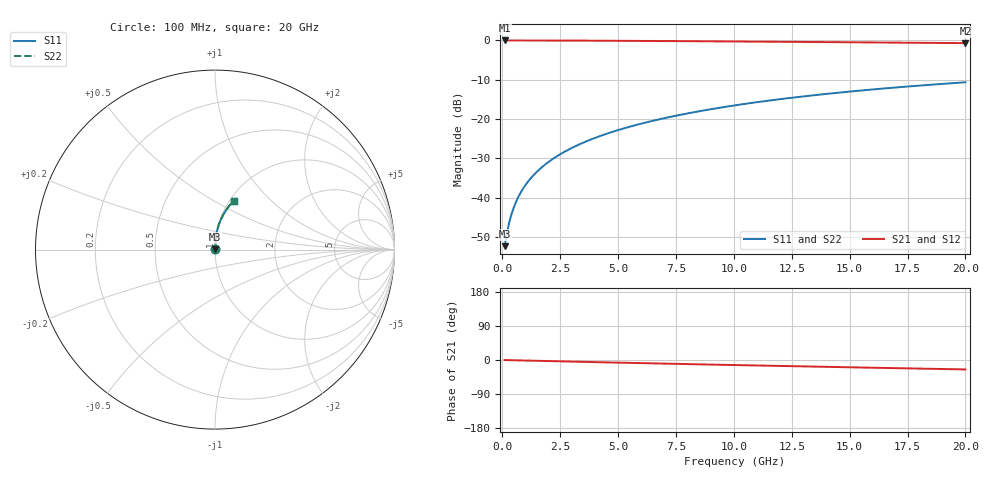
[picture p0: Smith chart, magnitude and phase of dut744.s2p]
! Touchstone file exported from HFSS 2024.1.0
!  File:  C:/UserFiles/LocalFiles/RDL_TSV_Batchsim/temp_RDL_bottom_744_1779859486.aedt
!  Generated:  01:27:13 PM May 27, 2026
!  Design:  RDL_bottom
!  Project:  temp_RDL_bottom_744_1779859486
!  Setup:  Setup1
!  Solution:  Sweep
! Variables:
!  dtsv = 10.80580581um
!  hbump = 3um
!  htsv = 65.81um
!  ldown = 287.8um
!  lrdl = 100um
!  p = 40
!  p1 = 55.92um
!  rhole = 1um
!  t = 450um
!  tdown = 3.28um
!  trdl = 3.915915916um
!  wdown = 18.44um
!  wrdl = 20um
# GHz S MA R 50.000000
! Terminal data exported
! Port[1] = RDL1_T1
! Port[2] = RDL1_T2
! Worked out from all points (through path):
!   200 points, 100 MHz to 20 GHz, reference 50 ohm
!   highest |S21| = -0.02 dB at 100 MHz (marker M1); lowest = -0.7 dB at 20 GHz (marker M2)
!   group delay of S21, straight-line fit = 3.44 ps
!   lowest |S11| = -52.4 dB at 100 MHz (marker M3), VSWR 1.00, Z = 50.2 + j0.15 ohm
!   |S11| at or under -10 dB: start of sweep to end of sweep
!   |S22| runs from -52.4 to -10.7 dB; largest |S21 - S12| = 4.5e-15
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0.1  0.002407 38.4  0.9981 -0.1  0.9981 -0.1  0.002407 38.4
! Gamma 0 0 0 0
! Port Impedance 50 0 50 0
0.2  0.003544 56.8  0.998 -0.3  0.998 -0.3  0.003544 56.8
0.3  0.004844 65.5  0.998 -0.4  0.998 -0.4  0.004844 65.5
0.4  0.006186 70.5  0.9979 -0.6  0.9979 -0.6  0.006186 70.5
0.5  0.007542 73.6  0.9978 -0.7  0.9978 -0.7  0.007542 73.6
0.6  0.008905 75.9  0.9977 -0.9  0.9977 -0.9  0.008905 75.9
0.8  0.01165 78.8  0.9975 -1.1  0.9975 -1.1  0.01165 78.8
1.1  0.0158 81.4  0.9972 -1.6  0.9972 -1.6  0.0158 81.4
1.5  0.02139 83.3  0.9968 -2.1  0.9968 -2.1  0.02139 83.3
1.8  0.02562 84.1  0.9964 -2.6  0.9964 -2.6  0.02562 84.1
2.1  0.02987 84.7  0.9959 -3.0  0.9959 -3.0  0.02987 84.7
2.7  0.03845 85.3  0.9947 -3.8  0.9947 -3.8  0.03845 85.3
3.5  0.05004 85.6  0.9928 -4.9  0.9928 -4.9  0.05004 85.6
4.2  0.06031 85.5  0.9909 -5.9  0.9909 -5.9  0.06031 85.5
5  0.07219 85.2  0.9884 -6.9  0.9884 -6.9  0.07219 85.2
5.9  0.08572 84.6  0.9853 -8.1  0.9853 -8.1  0.08572 84.6
6.8  0.09938 83.9  0.982 -9.3  0.982 -9.3  0.09938 83.9
8.4  0.1238 82.4  0.9757 -11.3  0.9757 -11.3  0.1238 82.4
10.1  0.1499 80.6  0.9687 -13.4  0.9687 -13.4  0.1499 80.6
13.4  0.1997 76.7  0.9542 -17.4  0.9542 -17.4  0.1997 76.7
16.7  0.2476 72.7  0.9388 -21.2  0.9388 -21.2  0.2476 72.7
20  0.2931 68.8  0.9225 -24.9  0.9225 -24.9  0.2931 68.8
